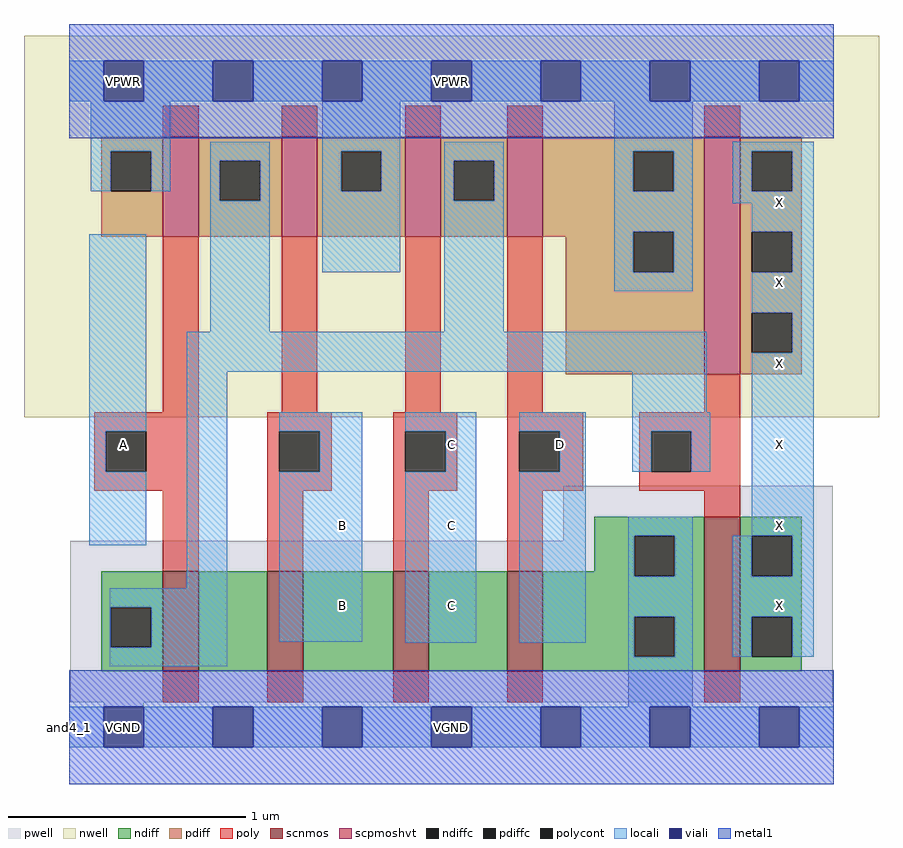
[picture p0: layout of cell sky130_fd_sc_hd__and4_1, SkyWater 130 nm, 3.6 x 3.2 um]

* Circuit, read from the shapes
.subckt sky130_fd_sc_hd__and4_1 A B C D VGND VNB VPB VPWR X
XM1 n1 A n2 VNB sky130_fd_pr__nfet_01v8 w=0.42 l=0.15
XM2 n3 B n1 VNB sky130_fd_pr__nfet_01v8 w=0.42 l=0.15
XM3 n4 C n3 VNB sky130_fd_pr__nfet_01v8 w=0.42 l=0.15
XM4 VGND D n4 VNB sky130_fd_pr__nfet_01v8 w=0.42 l=0.15
XM5 X n2 VGND VNB sky130_fd_pr__nfet_01v8 w=0.65 l=0.15
XM6 n2 A VPWR VPB sky130_fd_pr__pfet_01v8_hvt w=0.42 l=0.15
XM7 VPWR B n2 VPB sky130_fd_pr__pfet_01v8_hvt w=0.42 l=0.15
XM8 n2 C VPWR VPB sky130_fd_pr__pfet_01v8_hvt w=0.42 l=0.15
XM9 VPWR D n2 VPB sky130_fd_pr__pfet_01v8_hvt w=0.42 l=0.15
XM10 X n2 VPWR VPB sky130_fd_pr__pfet_01v8_hvt w=1 l=0.15
.ends

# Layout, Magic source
magic
tech sky130B
magscale 1 2
<< nwell >>
rect -38 261 682 582
<< pwell >>
rect 416 157 643 203
rect 1 21 643 157
rect 29 -17 63 21
<< scnmos >>
rect 79 47 109 131
rect 167 47 197 131
rect 273 47 303 131
rect 369 47 399 131
rect 535 47 565 177
<< scpmoshvt >>
rect 79 413 109 497
rect 179 413 209 497
rect 283 413 313 497
rect 369 413 399 497
rect 535 297 565 497
<< ndiff >>
rect 442 161 535 177
rect 442 131 476 161
rect 27 101 79 131
rect 27 67 35 101
rect 69 67 79 101
rect 27 47 79 67
rect 109 47 167 131
rect 197 47 273 131
rect 303 47 369 131
rect 399 127 476 131
rect 510 127 535 161
rect 399 93 535 127
rect 399 59 476 93
rect 510 59 535 93
rect 399 47 535 59
rect 565 161 617 177
rect 565 127 575 161
rect 609 127 617 161
rect 565 93 617 127
rect 565 59 575 93
rect 609 59 617 93
rect 565 47 617 59
<< pdiff >>
rect 27 485 79 497
rect 27 451 35 485
rect 69 451 79 485
rect 27 413 79 451
rect 109 477 179 497
rect 109 443 127 477
rect 161 443 179 477
rect 109 413 179 443
rect 209 485 283 497
rect 209 451 229 485
rect 263 451 283 485
rect 209 413 283 451
rect 313 477 369 497
rect 313 443 324 477
rect 358 443 369 477
rect 313 413 369 443
rect 399 485 535 497
rect 399 451 475 485
rect 509 451 535 485
rect 399 417 535 451
rect 399 413 475 417
rect 418 383 475 413
rect 509 383 535 417
rect 418 297 535 383
rect 565 485 617 497
rect 565 451 575 485
rect 609 451 617 485
rect 565 417 617 451
rect 565 383 575 417
rect 609 383 617 417
rect 565 349 617 383
rect 565 315 575 349
rect 609 315 617 349
rect 565 297 617 315
<< ndiffc >>
rect 35 67 69 101
rect 476 127 510 161
rect 476 59 510 93
rect 575 127 609 161
rect 575 59 609 93
<< pdiffc >>
rect 35 451 69 485
rect 127 443 161 477
rect 229 451 263 485
rect 324 443 358 477
rect 475 451 509 485
rect 475 383 509 417
rect 575 451 609 485
rect 575 383 609 417
rect 575 315 609 349
<< poly >>
rect 79 497 109 523
rect 179 497 209 523
rect 283 497 313 523
rect 369 497 399 523
rect 535 497 565 523
rect 79 265 109 413
rect 179 265 209 413
rect 283 265 313 413
rect 369 265 399 413
rect 535 265 565 297
rect 21 249 109 265
rect 21 215 31 249
rect 65 215 109 249
rect 21 199 109 215
rect 79 131 109 199
rect 167 249 221 265
rect 167 215 177 249
rect 211 215 221 249
rect 167 199 221 215
rect 273 249 327 265
rect 273 215 283 249
rect 317 215 327 249
rect 273 199 327 215
rect 369 249 433 265
rect 369 215 379 249
rect 413 215 433 249
rect 369 199 433 215
rect 480 249 565 265
rect 480 215 490 249
rect 524 215 565 249
rect 480 199 565 215
rect 167 131 197 199
rect 273 131 303 199
rect 369 131 399 199
rect 535 177 565 199
rect 79 21 109 47
rect 167 21 197 47
rect 273 21 303 47
rect 369 21 399 47
rect 535 21 565 47
<< polycont >>
rect 31 215 65 249
rect 177 215 211 249
rect 283 215 317 249
rect 379 215 413 249
rect 490 215 524 249
<< locali >>
rect 0 527 29 561
rect 63 527 121 561
rect 155 527 213 561
rect 247 527 305 561
rect 339 527 397 561
rect 431 527 489 561
rect 523 527 581 561
rect 615 527 644 561
rect 18 485 85 527
rect 18 451 35 485
rect 69 451 85 485
rect 119 477 169 493
rect 119 443 127 477
rect 161 443 169 477
rect 17 249 65 415
rect 119 333 169 443
rect 213 485 279 527
rect 213 451 229 485
rect 263 451 279 485
rect 213 383 279 451
rect 316 477 366 493
rect 316 443 324 477
rect 358 443 366 477
rect 316 333 366 443
rect 459 485 525 527
rect 459 451 475 485
rect 509 451 525 485
rect 459 417 525 451
rect 559 485 627 493
rect 559 451 575 485
rect 609 451 627 485
rect 559 441 627 451
rect 459 383 475 417
rect 509 383 525 417
rect 459 367 525 383
rect 575 417 627 441
rect 609 383 627 417
rect 575 349 627 383
rect 17 215 31 249
rect 17 153 65 215
rect 99 299 537 333
rect 99 117 133 299
rect 474 265 537 299
rect 609 315 627 349
rect 34 101 133 117
rect 34 67 35 101
rect 69 67 133 101
rect 177 249 247 265
rect 211 215 247 249
rect 177 72 247 215
rect 283 249 343 265
rect 317 215 343 249
rect 283 71 343 215
rect 379 249 435 265
rect 413 215 435 249
rect 474 249 540 265
rect 474 215 490 249
rect 524 215 540 249
rect 379 71 435 215
rect 471 161 525 177
rect 575 161 627 315
rect 471 127 476 161
rect 510 127 525 161
rect 471 93 525 127
rect 34 51 133 67
rect 471 59 476 93
rect 510 59 525 93
rect 559 127 575 161
rect 609 127 627 161
rect 559 93 627 127
rect 559 59 575 93
rect 609 59 627 93
rect 471 17 525 59
rect 0 -17 29 17
rect 63 -17 121 17
rect 155 -17 213 17
rect 247 -17 305 17
rect 339 -17 397 17
rect 431 -17 489 17
rect 523 -17 581 17
rect 615 -17 644 17
<< viali >>
rect 29 527 63 561
rect 121 527 155 561
rect 213 527 247 561
rect 305 527 339 561
rect 397 527 431 561
rect 489 527 523 561
rect 581 527 615 561
rect 29 -17 63 17
rect 121 -17 155 17
rect 213 -17 247 17
rect 305 -17 339 17
rect 397 -17 431 17
rect 489 -17 523 17
rect 581 -17 615 17
<< metal1 >>
rect 0 561 644 592
rect 0 527 29 561
rect 63 527 121 561
rect 155 527 213 561
rect 247 527 305 561
rect 339 527 397 561
rect 431 527 489 561
rect 523 527 581 561
rect 615 527 644 561
rect 0 496 644 527
rect 0 17 644 48
rect 0 -17 29 17
rect 63 -17 121 17
rect 155 -17 213 17
rect 247 -17 305 17
rect 339 -17 397 17
rect 431 -17 489 17
rect 523 -17 581 17
rect 615 -17 644 17
rect 0 -48 644 -17
<< labels >>
flabel locali s 581 425 615 459 0 FreeSans 200 0 0 0 X
port 9 nsew signal output
flabel locali s 305 85 339 119 0 FreeSans 200 0 0 0 C
port 3 nsew signal input
flabel locali s 305 153 339 187 0 FreeSans 200 0 0 0 C
port 3 nsew signal input
flabel locali s 29 221 63 255 0 FreeSans 200 0 0 0 A
port 1 nsew signal input
flabel locali s 305 221 339 255 0 FreeSans 200 0 0 0 C
port 3 nsew signal input
flabel locali s 213 85 247 119 0 FreeSans 200 0 0 0 B
port 2 nsew signal input
flabel locali s 213 153 247 187 0 FreeSans 200 0 0 0 B
port 2 nsew signal input
flabel locali s 397 221 431 255 0 FreeSans 200 0 0 0 D
port 4 nsew signal input
flabel locali s 581 85 615 119 0 FreeSans 200 0 0 0 X
port 9 nsew signal output
flabel locali s 581 153 615 187 0 FreeSans 200 0 0 0 X
port 9 nsew signal output
flabel locali s 581 221 615 255 0 FreeSans 200 0 0 0 X
port 9 nsew signal output
flabel locali s 581 289 615 323 0 FreeSans 200 0 0 0 X
port 9 nsew signal output
flabel locali s 581 357 615 391 0 FreeSans 200 0 0 0 X
port 9 nsew signal output
flabel metal1 s 29 -17 63 17 0 FreeSans 200 0 0 0 VGND
port 5 nsew ground bidirectional abutment
flabel metal1 s 29 527 63 561 0 FreeSans 200 0 0 0 VPWR
port 8 nsew power bidirectional abutment
flabel nwell s 29 527 63 561 0 FreeSans 200 0 0 0 VPB
port 7 nsew power bidirectional
flabel pwell s 29 -17 63 17 0 FreeSans 200 0 0 0 VNB
port 6 nsew ground bidirectional
rlabel comment s 0 0 0 0 4 and4_1
rlabel metal1 s 0 -48 644 48 1 VGND
port 5 nsew ground bidirectional abutment
rlabel metal1 s 0 496 644 592 1 VPWR
port 8 nsew power bidirectional abutment
<< properties >>
string FIXED_BBOX 0 0 644 544
string GDS_END 3884936
string GDS_FILE $PDKPATH/libs.ref/sky130_fd_sc_hd/gds/sky130_fd_sc_hd.gds
string GDS_START 3878582
string LEFclass CORE
string LEFsite unithd
string LEFsymmetry X Y R90
string path 0.000 0.000 16.100 0.000 
<< end >>
